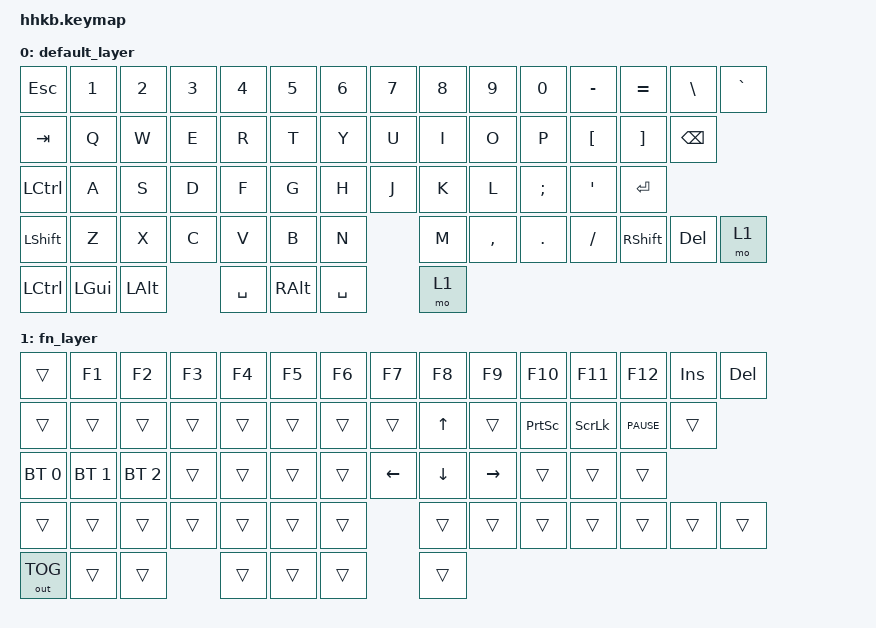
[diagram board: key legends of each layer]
#include <behaviors.dtsi>
#include <dt-bindings/zmk/keys.h>
#include <dt-bindings/zmk/bt.h>
#include <dt-bindings/zmk/outputs.h>

/ {
    keymap {
        compatible = "zmk,keymap";

        default_layer {
            bindings = <
                &kp ESC  &kp N1 &kp N2 &kp N3 &kp N4 &kp N5 &kp N6 &kp N7 &kp N8 &kp N9 &kp N0 &kp MINUS &kp EQUAL &kp BSLH &kp GRAVE
                &kp TAB  &kp Q  &kp W  &kp E  &kp R  &kp T  &kp Y  &kp U  &kp I  &kp O  &kp P  &kp LBKT &kp RBKT &kp BSPC
                &kp LCTRL &kp A &kp S  &kp D  &kp F  &kp G  &kp H  &kp J  &kp K  &kp L  &kp SCLN &kp QUOT &kp ENTER
                &kp LSHFT &kp Z &kp X  &kp C  &kp V  &kp B  &kp N  &kp M  &kp COMMA &kp DOT &kp FSLH &kp RSHFT &kp DEL &mo 1
                &kp LCTRL &kp LGUI &kp LALT &kp SPACE &kp RALT &kp SPACE &mo 1
            >;
        };

        fn_layer {
            bindings = <
                &trans &kp F1 &kp F2 &kp F3 &kp F4 &kp F5 &kp F6 &kp F7 &kp F8 &kp F9 &kp F10 &kp F11 &kp F12 &kp INS &kp DEL
                &trans &trans &trans &trans &trans &trans &trans &trans &kp UP &trans &kp PSCRN &kp SLCK &kp PAUSE &trans
                &bt BT_SEL 0 &bt BT_SEL 1 &bt BT_SEL 2 &trans &trans &trans &trans &kp LEFT &kp DOWN &kp RIGHT &trans &trans &trans
                &trans &trans &trans &trans &trans &trans &trans &trans &trans &trans &trans &trans &trans &trans
                &out OUT_TOG &trans &trans &trans &trans &trans &trans
            >;
        };
    };
};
